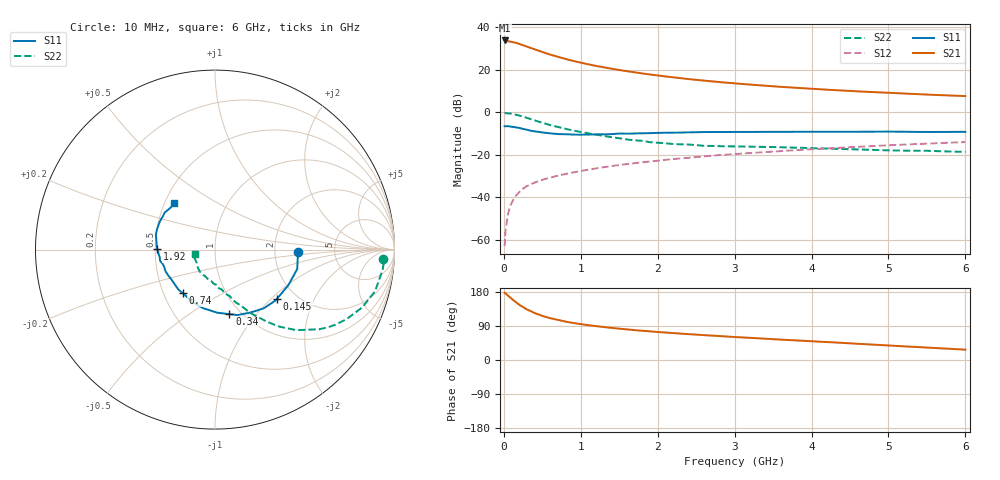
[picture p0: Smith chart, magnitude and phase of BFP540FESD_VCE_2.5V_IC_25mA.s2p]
! Infineon Technologies  Discrete & RF Semiconductors
! BFP540FESD
! VCE =  2.5 V,  IC =  25 mA
! Common Emitter S-Parameters:  Nov 2015
# GHz  S  MA  R  50
!  f  S11  S21  S12  S22
! GHz  MAG  ANG  MAG  ANG  MAG  ANG  MAG  ANG
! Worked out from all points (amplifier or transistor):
!   210 points, 10 MHz to 6 GHz, reference 50 ohm
!   highest |S21| = 33.7 dB at 10 MHz (marker M1)
!   |S21| within 3 dB of that: start of sweep to 312.4 MHz
!   unconditionally stable (mu >= 1): start of sweep to 13.57 MHz; 1.622 GHz to end of sweep
!   at 185 MHz: K = 0.32, MSG = 35.3 dB, |S12| = -38.2 dB
!   at 1.52 GHz: K = 0.98, MSG = 22.3 dB, |S12| = -24.8 dB
!   at 6 GHz: K = 1.17, MAG = 8.3 dB, |S12| = -14.1 dB
!   S11 on the Smith chart (normalised r, x): 10 MHz: 2.73, -0.10; 145 MHz: 1.60, -1.09; 340 MHz: 0.89, -0.74; 740 MHz: 0.63, -0.33; 1.92 GHz: 0.51, +0.00; 6 GHz: 0.56, +0.33
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0.01  0.465 -1.7  48.51 177.3  0.0007 90.5  0.9376 -3.3
0.02  0.4635 -6.8  47.12 176.0  0.0014 95.3  0.9472 -2.2
0.05  0.4709 -13.2  46.84 170.7  0.0036 86.9  0.9407 -6.9
0.1  0.4543 -25.9  45.16 161.7  0.0073 82.2  0.9215 -14.6
0.145  0.441 -38.4  43.46 154.3  0.01 76.5  0.8847 -20.7
0.2  0.4253 -50.3  40.45 145.8  0.0131 75.4  0.8312 -27.6
0.24  0.406 -58.5  38.2 140.8  0.0152 71.9  0.7913 -31.9
0.3  0.3853 -71.1  35.01 133.4  0.0181 69.9  0.7306 -37.4
0.34  0.3682 -77.4  32.9 129.9  0.0197 69.1  0.6924 -40.1
0.4  0.3519 -87.9  30.02 123.8  0.022 68.2  0.6383 -44.7
0.5  0.3327 -101.8  25.98 116.3  0.0256 65.2  0.5579 -50.2
0.6  0.318 -113.7  22.59 110.4  0.0285 64.4  0.4956 -54.2
0.74  0.3021 -126.8  19.09 104.0  0.0331 64.1  0.4293 -58.8
0.9  0.2958 -139.8  16 97.7  0.038 64.7  0.3688 -63.2
1.02  0.2949 -147.1  14.28 94.1  0.0418 64.4  0.3352 -66.1
1.4  0.3023 -165.0  10.49 84.7  0.0538 63.3  0.2569 -75.8
1.92  0.3216 179.6  7.583 75.2  0.0699 61.4  0.1949 -88.9
2.02  0.3254 176.3  7.187 73.6  0.073 61.1  0.1899 -92.4
3.1  0.3426 159.5  4.588 59.6  0.1058 55.4  0.1547 -116.9
4.1  0.3445 151.1  3.448 48.4  0.1367 49.5  0.1402 -132.1
5.1  0.3462 142.5  2.788 37.2  0.1687 41.8  0.1246 -147.2
6  0.3432 131.5  2.381 27.3  0.1972 34.4  0.1156 -167.6
